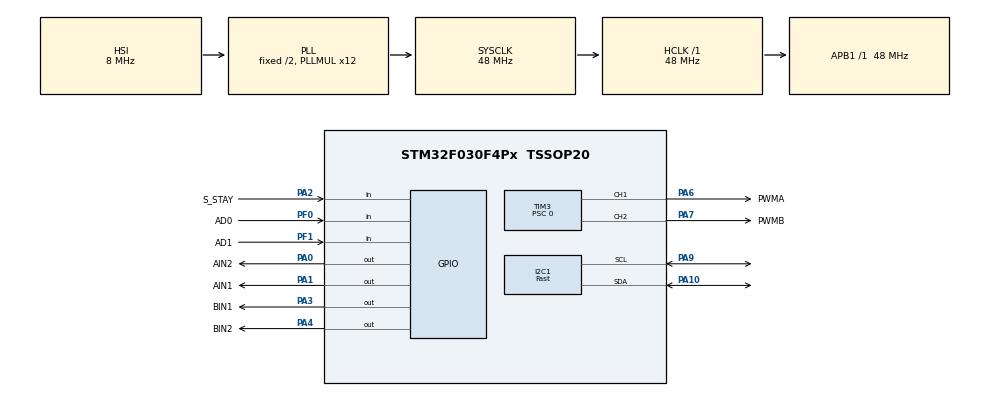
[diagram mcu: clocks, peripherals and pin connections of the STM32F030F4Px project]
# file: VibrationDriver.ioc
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Mcu.Family=STM32F0
VP_TIM14_VS_no_output1.Mode=Output Compare1 No Output
PA2.GPIO_PuPd=GPIO_PULLUP
TIM17.Prescaler=4
VP_TIM17_VS_ClockSourceINT.Mode=Enable_Timer
I2C1.I2C_Speed_Mode=I2C_Fast
PA3.GPIO_PuPd=GPIO_PULLUP
PA0.GPIO_Label=AIN2
PA6.GPIO_Label=PWMA
PA3.GPIO_Speed=GPIO_SPEED_FREQ_MEDIUM
RCC.SYSCLKSource=RCC_SYSCLKSOURCE_PLLCLK
ProjectManager.StackSize=0x400
PF0-OSC_IN.GPIO_PuPd=GPIO_PULLUP
NVIC.TIM17_IRQn=true\:0\:0\:false\:false\:true\:true\:true
RCC.HCLKFreq_Value=48000000
TIM3.Period=256
PA1.GPIO_PuPd=GPIO_PULLUP
RCC.AHBFreq_Value=48000000
TIM3.Channel-PWM\ Generation1\ CH1=TIM_CHANNEL_1
PF0-OSC_IN.GPIO_Label=AD0
PA4.GPIO_PuPd=GPIO_PULLUP
TIM17.Channel=TIM_CHANNEL_1
TIM14.Period=1088
RCC.PLLMUL=RCC_PLL_MUL12
PA4.GPIO_Speed=GPIO_SPEED_FREQ_MEDIUM
TIM17.Period=65535
PA6.GPIO_PuPd=GPIO_PULLUP
I2C1.NoStretchMode=I2C_NOSTRETCH_DISABLE
TIM3.Prescaler=0
SH.S_TIM3_CH1.0=TIM3_CH1,PWM Generation1 CH1
TIM16.Pulse=0
PA0.Signal=GPIO_Output
Mcu.Package=TSSOP20
PA6.Signal=S_TIM3_CH1
PA10.GPIO_PuPdOD=GPIO_NOPULL
PA0.GPIO_PuPd=GPIO_PULLUP
PA2.GPIO_Label=S_STAY
PA10.Signal=I2C1_SDA
PA1.PinState=GPIO_PIN_SET
TIM17.OC1Preload=ENABLE
RCC.APB1TimFreq_Value=48000000
TIM3.Pulse-PWM\ Generation2\ CH2=256
VP_TIM14_VS_ClockSourceINT.Mode=Enable_Timer
TIM16.Prescaler=4
PA6.GPIO_Speed=GPIO_SPEED_FREQ_MEDIUM
PA4.GPIO_Label=BIN2
VP_TIM3_VS_ClockSourceINT.Mode=Internal
PF1-OSC_OUT.Signal=GPIO_Input
PA3.Signal=GPIO_Output
NVIC.TIM14_IRQn=true\:0\:0\:false\:false\:true\:true\:true
PA10.Mode=I2C
TIM3.AutoReloadPreload=TIM_AUTORELOAD_PRELOAD_ENABLE
TIM17.Pulse=0
VP_TIM16_VS_ClockSourceINT.Mode=Enable_Timer
NVIC.TIM16_IRQn=true\:0\:0\:false\:false\:true\:true\:true
TIM16.Channel=TIM_CHANNEL_1
PA0.GPIO_Speed=GPIO_SPEED_FREQ_MEDIUM
PA9.Mode=I2C
TIM3.Pulse-PWM\ Generation1\ CH1=256
PA4.PinState=GPIO_PIN_SET
ProjectManager.TargetToolchain=STM32CubeIDE
PF1-OSC_OUT.GPIO_PuPd=GPIO_PULLUP
PA9.Signal=I2C1_SCL
I2C1.Timing=0x0000020B
PA7.GPIO_PuPd=GPIO_PULLUP
PA1.Signal=GPIO_Output
SH.S_TIM3_CH2.0=TIM3_CH2,PWM Generation2 CH2
board=custom
PA7.GPIO_Speed=GPIO_SPEED_FREQ_MEDIUM
TIM16.Period=65535
TIM16.ClockDivision=TIM_CLOCKDIVISION_DIV1
VP_TIM16_VS_no_output1.Mode=Output Compare1 No Output
TIM14.Channel=TIM_CHANNEL_1
PA1.GPIO_Speed=GPIO_SPEED_FREQ_MEDIUM
PF1-OSC_OUT.GPIO_Label=AD1
PA1.GPIO_Label=AIN1
PA9.GPIO_PuPdOD=GPIO_NOPULL
Mcu.Name=STM32F030F4Px
PA2.Signal=GPIO_Input
I2C1.OwnAddress=63
PA4.Signal=GPIO_Output
RCC.SYSCLKFreq_VALUE=48000000
PA7.GPIO_Label=PWMB
VP_TIM17_VS_no_output1.Mode=Output Compare1 No Output
ProjectManager.HeapSize=0x200
TIM3.Channel-PWM\ Generation2\ CH2=TIM_CHANNEL_2
PF0-OSC_IN.Signal=GPIO_Input
RCC.APB1Freq_Value=48000000
TIM16.OC1Preload=ENABLE
PA3.GPIO_Label=BIN1
PA7.Signal=S_TIM3_CH2

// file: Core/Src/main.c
/* USER CODE BEGIN Header */
/**
  ******************************************************************************
  * @file           : main.c
  * @brief          : Main program body
  ******************************************************************************
  * @attention
  *
  * <h2><center>&copy; Copyright (c) 2021 STMicroelectronics.
  * All rights reserved.</center></h2>
  *
  * This software component is licensed by ST under BSD 3-Clause license,
  * the "License"; You may not use this file except in compliance with the
  * License. You may obtain a copy of the License at:
  *                        opensource.org/licenses/BSD-3-Clause
  *
  ******************************************************************************
  */
/* USER CODE END Header */
#include "main.h"

/* USER CODE BEGIN Includes */
#include <string.h>
#include <stdio.h>
/* USER CODE END Includes */

I2C_HandleTypeDef hi2c1;

TIM_HandleTypeDef htim3;
TIM_HandleTypeDef htim14;
TIM_HandleTypeDef htim16;
TIM_HandleTypeDef htim17;

void SystemClock_Config(void);
static void MX_GPIO_Init(void);
static void MX_TIM16_Init(void);
static void MX_TIM17_Init(void);
static void MX_TIM3_Init(void);
static void MX_I2C1_Init(void);
static void MX_TIM14_Init(void);

/* USER CODE BEGIN 0 */

// Data is loaded onto the microcontroller in "frames" (chunks),
// effectively making this a ring buffer with NFRAME items of length
// FRAME_SAMPLES.
// Note the STM32F030F4 has only 4K SRAM so this buffer must stay small
#define NFRAME 4
#define FRAME_SAMPLES 16*2
uint8_t wav_buffer[NFRAME][FRAME_SAMPLES];
volatile uint8_t frame_idx;  // Where to read sample data
volatile uint8_t frame_buf_idx; // Where to write the next incoming frame
volatile uint16_t sample_idx; // Which sample in frame_idx to read next
// PCM treats 0x00 as -amp_max and 0xff as amp_max.
#define WAV_ZERO 0x80

void HAL_TIM_PeriodElapsedCallback(TIM_HandleTypeDef *htim)
{

  if (htim->Instance == htim16.Instance) {
    	// Toggle Motor A direction
    	HAL_GPIO_TogglePin(GPIOA, AIN1_Pin|AIN2_Pin);
  } else if (htim->Instance == htim17.Instance) {
    	// Toggle A3/A4, Motor B direction
    	HAL_GPIO_TogglePin(GPIOA, BIN1_Pin|BIN2_Pin);
  } else if (htim->Instance == htim14.Instance) {
	  // htim14 handles wav data frame advancement

      if (frame_idx == frame_buf_idx) {
        return; // We're caught up; no more data to read.
      }

      // Load next WAV PCM sample
      uint8_t vA = wav_buffer[frame_idx][sample_idx++];
      uint8_t vB = wav_buffer[frame_idx][sample_idx++];

      // Advance to the next frame if we've read the current one,
      // Wrapping around when we reach the end.
      if (sample_idx >= FRAME_SAMPLES) {
        sample_idx = 0;
        frame_idx = (frame_idx + 1) % NFRAME;
      }

      // Set direction based on whether we're in the top or lower half of the waveform
      HAL_GPIO_WritePin(GPIOA, AIN1_Pin, (vA >= WAV_ZERO) ? GPIO_PIN_SET   : GPIO_PIN_RESET);
      HAL_GPIO_WritePin(GPIOA, AIN2_Pin, (vA >= WAV_ZERO) ? GPIO_PIN_RESET : GPIO_PIN_SET);
      HAL_GPIO_WritePin(GPIOA, BIN1_Pin, (vB >= WAV_ZERO) ? GPIO_PIN_SET   : GPIO_PIN_RESET);
      HAL_GPIO_WritePin(GPIOA, BIN2_Pin, (vB >= WAV_ZERO) ? GPIO_PIN_RESET : GPIO_PIN_SET);

      // We shift and remove the sign bit to get the absolute amplitude
      uint8_t vccrA = ((uint8_t)(vA - 128)) & (~0x80);
      htim3.Instance->CCR1 = vccrA;
      uint8_t vccrB = ((uint8_t)(vB - 128)) & (~0x80);
      htim3.Instance->CCR2 = vccrB;
  } else {
    // "This should never happen"
    Error_Handler();
  }
}

#define CMD_PACKET_SZ 6
#define F_CLK 48000000
#define PSC 4
#define VLIM 256

uint16_t last_freqs[2] = {0,0};
uint8_t last_vols[2] = {0,0};
void setFreq(uint8_t channel, uint16_t freq, uint8_t vol) {
	// Frequency mode uses tim16 (motor 1) and tim17 (motor 2) to
	// trigger interrupts which are used to toggle the GPIO pins specifying direction.
	// Volume is controlled by setting the duty cycle of tim3.
	// Registers are only set if the frequency has changed - this prevents
	// blips/noise when setting the same frequency

	// 2*freq as we're triggering an interrupt every half-period
	freq *= 2;

	volatile uint32_t* volccr;
	TIM_HandleTypeDef* tim;
	uint16_t p1, p2;
	if (channel == 0) {
		volccr = &(htim3.Instance->CCR1);
		tim = &htim16;
		p1 = AIN1_Pin;
		p2 = AIN2_Pin;
	} else {
		volccr = &(htim3.Instance->CCR2);
		tim = &htim17;
		p1 = BIN1_Pin;
		p2 = BIN2_Pin;
	}

	HAL_TIM_Base_Stop_IT(tim);
	if (last_vols[channel] != vol) {
		*volccr = (vol * VLIM) / 256;
	}
	if (freq == 0) {
	  HAL_GPIO_WritePin(GPIOA, p1|p2, GPIO_PIN_RESET);
	} else if (last_freqs[channel] != freq) {
		// Freq = Fclk / ((ARR+1)*(PSC+1))
		// (Fclk / (Freq * (PSC+1))) - 1 = ARR
		uint16_t arr =  F_CLK / (freq * (PSC+1)) - 1;
		tim->Instance->ARR = arr;
		tim->Instance->CCR1 = arr / 2; // 50% duty cycle
		HAL_GPIO_WritePin(GPIOA, p1, GPIO_PIN_RESET);
		HAL_GPIO_WritePin(GPIOA, p2, GPIO_PIN_SET);
	}

	if (vol != 0 && freq != 0) {
	  HAL_TIM_Base_Start_IT(tim);
	}

	last_vols[channel] = vol;
	last_freqs[channel] = freq;
}

void startWavMode() {
  // Wav mode uses tim14 to advance the data buffer and set the next PCM
  // sample.

  // Disable freq mode timers so they don't vibrate the brush
  setFreq(0, 0, 0);
  setFreq(1, 0, 0);

  HAL_TIM_Base_Stop_IT(&htim14);
  frame_idx = 0;
  sample_idx = 0;
  frame_buf_idx = 0;
  HAL_TIM_Base_Start_IT(&htim14);
}

void startFreqMode() {
  HAL_TIM_Base_Stop_IT(&htim14);
  setFreq(0, 0, 0);
  setFreq(1, 0, 0);
}

void demoWav() {
  startWavMode(); // Start consuming data
  while (1) {
    // Keep the buffer filled
    if ((frame_buf_idx+1) % NFRAME != frame_idx) {
      for (uint16_t i = 0; i < FRAME_SAMPLES; i+= 2) { // Skip every other byte; only fill channel 1
          wav_buffer[frame_buf_idx][i] = i & 0xff; // Simple sawtooth, 8 bits @ 44.1kHz ~= 172 Hz tone
      }
      frame_buf_idx = (frame_buf_idx+1) % NFRAME;
    }
  }
}

void demoFreq() {
  while (1) {
	setFreq(0, 440, 127);
	setFreq(1, 220, 127);
	HAL_Delay(500);
	setFreq(0, 220, 127);
	setFreq(1, 440, 127);
	HAL_Delay(500);
	setFreq(0, 220, 127);
	setFreq(1, 880, 127);
	HAL_Delay(500);
	setFreq(0, 440, 255);
	setFreq(1, 220, 255);
	HAL_Delay(500);
	setFreq(0, 220, 255);
	setFreq(1, 440, 255);
	HAL_Delay(500);
	setFreq(0, 220, 255);
	setFreq(1, 880, 255);
	HAL_Delay(500);
	setFreq(0, 0, 0);
	setFreq(1, 0, 0);
	HAL_Delay(500);
  }
}

uint8_t freq_buffer[CMD_PACKET_SZ];
enum  Mode {
  MODE_UNKNOWN,
  MODE_FREQ,
  MODE_WAV,
} mode = MODE_UNKNOWN;

/* USER CODE END 0 */

int main(void)
{

  /* MCU Configuration--------------------------------------------------------*/

  /* Reset of all peripherals, Initializes the Flash interface and the Systick. */
  HAL_Init();

  /* Configure the system clock */
  SystemClock_Config();

  /* Initialize all configured peripherals */
  MX_GPIO_Init();
  MX_TIM16_Init();
  MX_TIM17_Init();
  MX_TIM3_Init();
  MX_I2C1_Init();
  MX_TIM14_Init();
  /* USER CODE BEGIN 2 */

  startFreqMode();
  mode = MODE_FREQ; // Default to frequency mode

  /* USER CODE END 2 */

  /* Infinite loop */
  while (1)
  {

    /* USER CODE BEGIN 3 */

	switch (mode) {
      case MODE_FREQ:
        if (HAL_I2C_Slave_Receive(&hi2c1, freq_buffer, CMD_PACKET_SZ, HAL_MAX_DELAY) == HAL_OK) {
          uint16_t fA = freq_buffer[0] + (freq_buffer[1] << 8);
          uint16_t fB = freq_buffer[2] + (freq_buffer[3] << 8);
          uint8_t vA = freq_buffer[4];
          uint8_t vB = freq_buffer[5];

          // TODO handle switching to and from WAV mode once WAV mode is useful
//          if (fA == 0 && fB == 0 && vA == 255 && vB == 255) {
//            // Interpret screaming at 0Hz as "I want to use wav mode"
//            mode = MODE_WAV;
//            startWavMode();
//          } else {
//            setFreq(0, fA, vA);
//            setFreq(1, fB, vB);
//          }
          setFreq(0, fA, vA);
          setFreq(1, fB, vB);
        }
        break;
      case MODE_WAV:
        if (HAL_I2C_Slave_Receive(&hi2c1, wav_buffer[frame_buf_idx], FRAME_SAMPLES, HAL_MAX_DELAY) == HAL_OK) {
          if (strncmp((char*)(wav_buffer[frame_buf_idx]), "\ff\00\ff\00FREQ", 8) == 0) {
            mode = MODE_FREQ;
            startFreqMode();
          } else {
            frame_buf_idx = (frame_buf_idx + 1) % NFRAME;
          }
        }
        break;
      case MODE_UNKNOWN:
      default:
        break;
    }
//	  if (HAL_I2C_Slave_Transmit(&hi2c1, (uint8_t *)"OK", 2, HAL_MAX_DELAY) != HAL_OK) {
//		  continue;
//		  //Error_Handler();
//	  }

  }
  /* USER CODE END 3 */
}

void SystemClock_Config(void)
{
  RCC_OscInitTypeDef RCC_OscInitStruct = {0};
  RCC_ClkInitTypeDef RCC_ClkInitStruct = {0};
  RCC_PeriphCLKInitTypeDef PeriphClkInit = {0};

  /** Initializes the RCC Oscillators according to the specified parameters
  * in the RCC_OscInitTypeDef structure.
  */
  RCC_OscInitStruct.OscillatorType = RCC_OSCILLATORTYPE_HSI;
  RCC_OscInitStruct.HSIState = RCC_HSI_ON;
  RCC_OscInitStruct.HSICalibrationValue = RCC_HSICALIBRATION_DEFAULT;
  RCC_OscInitStruct.PLL.PLLState = RCC_PLL_ON;
  RCC_OscInitStruct.PLL.PLLSource = RCC_PLLSOURCE_HSI;
  RCC_OscInitStruct.PLL.PLLMUL = RCC_PLL_MUL12;
  RCC_OscInitStruct.PLL.PREDIV = RCC_PREDIV_DIV1;
  if (HAL_RCC_OscConfig(&RCC_OscInitStruct) != HAL_OK)
  {
    Error_Handler();
  }
  /** Initializes the CPU, AHB and APB buses clocks
  */
  RCC_ClkInitStruct.ClockType = RCC_CLOCKTYPE_HCLK|RCC_CLOCKTYPE_SYSCLK
                              |RCC_CLOCKTYPE_PCLK1;
  RCC_ClkInitStruct.SYSCLKSource = RCC_SYSCLKSOURCE_PLLCLK;
  RCC_ClkInitStruct.AHBCLKDivider = RCC_SYSCLK_DIV1;
  RCC_ClkInitStruct.APB1CLKDivider = RCC_HCLK_DIV1;

  if (HAL_RCC_ClockConfig(&RCC_ClkInitStruct, FLASH_LATENCY_1) != HAL_OK)
  {
    Error_Handler();
  }
  PeriphClkInit.PeriphClockSelection = RCC_PERIPHCLK_I2C1;
  PeriphClkInit.I2c1ClockSelection = RCC_I2C1CLKSOURCE_HSI;
  if (HAL_RCCEx_PeriphCLKConfig(&PeriphClkInit) != HAL_OK)
  {
    Error_Handler();
  }
}

static void MX_I2C1_Init(void)
{

  hi2c1.Instance = I2C1;
  hi2c1.Init.Timing = 0x0000020B;
  hi2c1.Init.OwnAddress1 = 126;
  hi2c1.Init.AddressingMode = I2C_ADDRESSINGMODE_7BIT;
  hi2c1.Init.DualAddressMode = I2C_DUALADDRESS_DISABLE;
  hi2c1.Init.OwnAddress2 = 0;
  hi2c1.Init.OwnAddress2Masks = I2C_OA2_NOMASK;
  hi2c1.Init.GeneralCallMode = I2C_GENERALCALL_DISABLE;
  hi2c1.Init.NoStretchMode = I2C_NOSTRETCH_DISABLE;
  if (HAL_I2C_Init(&hi2c1) != HAL_OK)
  {
    Error_Handler();
  }
  /** Configure Analogue filter
  */
  if (HAL_I2CEx_ConfigAnalogFilter(&hi2c1, I2C_ANALOGFILTER_ENABLE) != HAL_OK)
  {
    Error_Handler();
  }
  /** Configure Digital filter
  */
  if (HAL_I2CEx_ConfigDigitalFilter(&hi2c1, 0) != HAL_OK)
  {
    Error_Handler();
  }

}

static void MX_TIM3_Init(void)
{

  TIM_ClockConfigTypeDef sClockSourceConfig = {0};
  TIM_MasterConfigTypeDef sMasterConfig = {0};
  TIM_OC_InitTypeDef sConfigOC = {0};

  htim3.Instance = TIM3;
  htim3.Init.Prescaler = 0;
  htim3.Init.CounterMode = TIM_COUNTERMODE_UP;
  htim3.Init.Period = 256;
  htim3.Init.ClockDivision = TIM_CLOCKDIVISION_DIV1;
  htim3.Init.AutoReloadPreload = TIM_AUTORELOAD_PRELOAD_ENABLE;
  if (HAL_TIM_Base_Init(&htim3) != HAL_OK)
  {
    Error_Handler();
  }
  sClockSourceConfig.ClockSource = TIM_CLOCKSOURCE_INTERNAL;
  if (HAL_TIM_ConfigClockSource(&htim3, &sClockSourceConfig) != HAL_OK)
  {
    Error_Handler();
  }
  if (HAL_TIM_PWM_Init(&htim3) != HAL_OK)
  {
    Error_Handler();
  }
  sMasterConfig.MasterOutputTrigger = TIM_TRGO_RESET;
  sMasterConfig.MasterSlaveMode = TIM_MASTERSLAVEMODE_DISABLE;
  if (HAL_TIMEx_MasterConfigSynchronization(&htim3, &sMasterConfig) != HAL_OK)
  {
    Error_Handler();
  }
  sConfigOC.OCMode = TIM_OCMODE_PWM1;
  sConfigOC.Pulse = 256;
  sConfigOC.OCPolarity = TIM_OCPOLARITY_HIGH;
  sConfigOC.OCFastMode = TIM_OCFAST_DISABLE;
  if (HAL_TIM_PWM_ConfigChannel(&htim3, &sConfigOC, TIM_CHANNEL_1) != HAL_OK)
  {
    Error_Handler();
  }
  if (HAL_TIM_PWM_ConfigChannel(&htim3, &sConfigOC, TIM_CHANNEL_2) != HAL_OK)
  {
    Error_Handler();
  }
  /* USER CODE BEGIN TIM3_Init 2 */
  // tim3 should always be running, as it's the carrier upon which volume is expressed
  HAL_TIM_PWM_Start(&htim3, TIM_CHANNEL_1);
  HAL_TIM_PWM_Start(&htim3, TIM_CHANNEL_2);

  /* USER CODE END TIM3_Init 2 */
  HAL_TIM_MspPostInit(&htim3);

}

static void MX_TIM14_Init(void)
{

  /* USER CODE BEGIN TIM14_Init 0 */
  // 48000000 / 44100 = 1088.43537
  /* USER CODE END TIM14_Init 0 */

  TIM_OC_InitTypeDef sConfigOC = {0};

  htim14.Instance = TIM14;
  htim14.Init.Prescaler = 0;
  htim14.Init.CounterMode = TIM_COUNTERMODE_UP;
  htim14.Init.Period = 1088;
  htim14.Init.ClockDivision = TIM_CLOCKDIVISION_DIV1;
  htim14.Init.AutoReloadPreload = TIM_AUTORELOAD_PRELOAD_DISABLE;
  if (HAL_TIM_Base_Init(&htim14) != HAL_OK)
  {
    Error_Handler();
  }
  if (HAL_TIM_OC_Init(&htim14) != HAL_OK)
  {
    Error_Handler();
  }
  sConfigOC.OCMode = TIM_OCMODE_TIMING;
  sConfigOC.Pulse = 0;
  sConfigOC.OCPolarity = TIM_OCPOLARITY_HIGH;
  sConfigOC.OCFastMode = TIM_OCFAST_DISABLE;
  if (HAL_TIM_OC_ConfigChannel(&htim14, &sConfigOC, TIM_CHANNEL_1) != HAL_OK)
  {
    Error_Handler();
  }

}

static void MX_TIM16_Init(void)
{

  TIM_OC_InitTypeDef sConfigOC = {0};
  TIM_BreakDeadTimeConfigTypeDef sBreakDeadTimeConfig = {0};

  htim16.Instance = TIM16;
  htim16.Init.Prescaler = 4;
  htim16.Init.CounterMode = TIM_COUNTERMODE_UP;
  htim16.Init.Period = 65535;
  htim16.Init.ClockDivision = TIM_CLOCKDIVISION_DIV1;
  htim16.Init.RepetitionCounter = 0;
  htim16.Init.AutoReloadPreload = TIM_AUTORELOAD_PRELOAD_DISABLE;
  if (HAL_TIM_Base_Init(&htim16) != HAL_OK)
  {
    Error_Handler();
  }
  if (HAL_TIM_OC_Init(&htim16) != HAL_OK)
  {
    Error_Handler();
  }
  sConfigOC.OCMode = TIM_OCMODE_TIMING;
  sConfigOC.Pulse = 0;
  sConfigOC.OCPolarity = TIM_OCPOLARITY_HIGH;
  sConfigOC.OCNPolarity = TIM_OCNPOLARITY_HIGH;
  sConfigOC.OCFastMode = TIM_OCFAST_DISABLE;
  sConfigOC.OCIdleState = TIM_OCIDLESTATE_RESET;
  sConfigOC.OCNIdleState = TIM_OCNIDLESTATE_RESET;
  if (HAL_TIM_OC_ConfigChannel(&htim16, &sConfigOC, TIM_CHANNEL_1) != HAL_OK)
  {
    Error_Handler();
  }
  __HAL_TIM_ENABLE_OCxPRELOAD(&htim16, TIM_CHANNEL_1);
  sBreakDeadTimeConfig.OffStateRunMode = TIM_OSSR_DISABLE;
  sBreakDeadTimeConfig.OffStateIDLEMode = TIM_OSSI_DISABLE;
  sBreakDeadTimeConfig.LockLevel = TIM_LOCKLEVEL_OFF;
  sBreakDeadTimeConfig.DeadTime = 0;
  sBreakDeadTimeConfig.BreakState = TIM_BREAK_DISABLE;
  sBreakDeadTimeConfig.BreakPolarity = TIM_BREAKPOLARITY_HIGH;
  sBreakDeadTimeConfig.AutomaticOutput = TIM_AUTOMATICOUTPUT_DISABLE;
  if (HAL_TIMEx_ConfigBreakDeadTime(&htim16, &sBreakDeadTimeConfig) != HAL_OK)
  {
    Error_Handler();
  }
  /* USER CODE BEGIN TIM16_Init 2 */
  HAL_TIM_Base_Start_IT(&htim16);

  /* USER CODE END TIM16_Init 2 */

}

static void MX_TIM17_Init(void)
{

  TIM_OC_InitTypeDef sConfigOC = {0};
  TIM_BreakDeadTimeConfigTypeDef sBreakDeadTimeConfig = {0};

  htim17.Instance = TIM17;
  htim17.Init.Prescaler = 4;
  htim17.Init.CounterMode = TIM_COUNTERMODE_UP;
  htim17.Init.Period = 65535;
  htim17.Init.ClockDivision = TIM_CLOCKDIVISION_DIV1;
  htim17.Init.RepetitionCounter = 0;
  htim17.Init.AutoReloadPreload = TIM_AUTORELOAD_PRELOAD_DISABLE;
  if (HAL_TIM_Base_Init(&htim17) != HAL_OK)
  {
    Error_Handler();
  }
  if (HAL_TIM_OC_Init(&htim17) != HAL_OK)
  {
    Error_Handler();
  }
  sConfigOC.OCMode = TIM_OCMODE_TIMING;
  sConfigOC.Pulse = 0;
  sConfigOC.OCPolarity = TIM_OCPOLARITY_HIGH;
  sConfigOC.OCNPolarity = TIM_OCNPOLARITY_HIGH;
  sConfigOC.OCFastMode = TIM_OCFAST_DISABLE;
  sConfigOC.OCIdleState = TIM_OCIDLESTATE_RESET;
  sConfigOC.OCNIdleState = TIM_OCNIDLESTATE_RESET;
  if (HAL_TIM_OC_ConfigChannel(&htim17, &sConfigOC, TIM_CHANNEL_1) != HAL_OK)
  {
    Error_Handler();
  }
  __HAL_TIM_ENABLE_OCxPRELOAD(&htim17, TIM_CHANNEL_1);
  sBreakDeadTimeConfig.OffStateRunMode = TIM_OSSR_DISABLE;
  sBreakDeadTimeConfig.OffStateIDLEMode = TIM_OSSI_DISABLE;
  sBreakDeadTimeConfig.LockLevel = TIM_LOCKLEVEL_OFF;
  sBreakDeadTimeConfig.DeadTime = 0;
  sBreakDeadTimeConfig.BreakState = TIM_BREAK_DISABLE;
  sBreakDeadTimeConfig.BreakPolarity = TIM_BREAKPOLARITY_HIGH;
  sBreakDeadTimeConfig.AutomaticOutput = TIM_AUTOMATICOUTPUT_DISABLE;
  if (HAL_TIMEx_ConfigBreakDeadTime(&htim17, &sBreakDeadTimeConfig) != HAL_OK)
  {
    Error_Handler();
  }
  /* USER CODE BEGIN TIM17_Init 2 */
  HAL_TIM_Base_Start_IT(&htim17);

  /* USER CODE END TIM17_Init 2 */

}

static void MX_GPIO_Init(void)
{
  GPIO_InitTypeDef GPIO_InitStruct = {0};

  /* GPIO Ports Clock Enable */
  __HAL_RCC_GPIOF_CLK_ENABLE();
  __HAL_RCC_GPIOA_CLK_ENABLE();

  /*Configure GPIO pin Output Level */
  HAL_GPIO_WritePin(GPIOA, AIN2_Pin|BIN1_Pin, GPIO_PIN_RESET);

  /*Configure GPIO pin Output Level */
  HAL_GPIO_WritePin(GPIOA, AIN1_Pin|BIN2_Pin, GPIO_PIN_SET);

  /*Configure GPIO pins : AD0_Pin AD1_Pin */
  GPIO_InitStruct.Pin = AD0_Pin|AD1_Pin;
  GPIO_InitStruct.Mode = GPIO_MODE_INPUT;
  GPIO_InitStruct.Pull = GPIO_PULLUP;
  HAL_GPIO_Init(GPIOF, &GPIO_InitStruct);

  /*Configure GPIO pins : AIN2_Pin AIN1_Pin BIN1_Pin BIN2_Pin */
  GPIO_InitStruct.Pin = AIN2_Pin|AIN1_Pin|BIN1_Pin|BIN2_Pin;
  GPIO_InitStruct.Mode = GPIO_MODE_OUTPUT_PP;
  GPIO_InitStruct.Pull = GPIO_PULLUP;
  GPIO_InitStruct.Speed = GPIO_SPEED_FREQ_MEDIUM;
  HAL_GPIO_Init(GPIOA, &GPIO_InitStruct);

  /*Configure GPIO pin : S_STAY_Pin */
  GPIO_InitStruct.Pin = S_STAY_Pin;
  GPIO_InitStruct.Mode = GPIO_MODE_INPUT;
  GPIO_InitStruct.Pull = GPIO_PULLUP;
  HAL_GPIO_Init(S_STAY_GPIO_Port, &GPIO_InitStruct);

}

void Error_Handler(void)
{
  __disable_irq();
  while (1)
  {
  }
}

/************************ (C) COPYRIGHT STMicroelectronics *****END OF FILE****/
